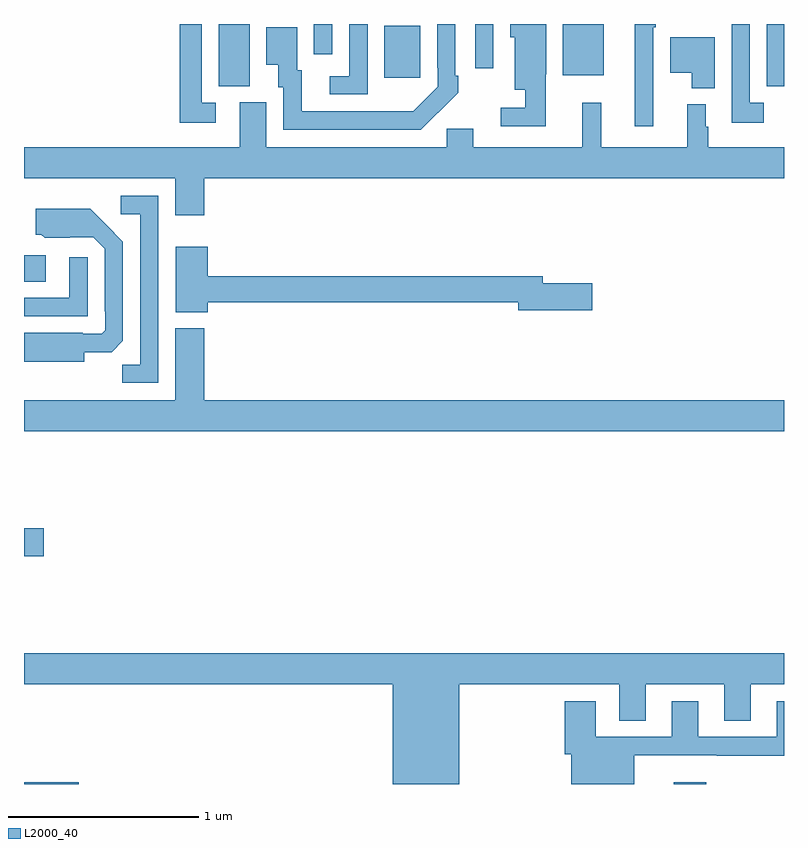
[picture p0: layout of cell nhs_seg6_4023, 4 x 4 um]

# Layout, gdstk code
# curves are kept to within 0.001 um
import gdstk
lib = gdstk.Library(unit=1e-6, precision=1e-09)
def R(c, l, rs):  # rectangles x0, y0, x1, y1
    for r in rs: c.add(gdstk.rectangle(r[:2], r[2:], *l))
def P(c, l, *ps):  # polygons
    for p in ps: c.add(gdstk.Polygon(p, *l))
L2000_40 = (2000, 40)

nhs_seg6_4023 = lib.new_cell('nhs_seg6_4023')
R(nhs_seg6_4023, L2000_40, [(349,925.5,349.288,925.508), (352.421,925.5,352.592,925.51), (349,926.699,349.105,926.846), (349,928.144,349.114,928.284), (350.024,929.173,350.188,929.5), (352.91,929.173,353,929.5), (350.897,929.217,351.085,929.491), (351.836,929.231,352.051,929.5), (351.375,929.268,351.471,929.5), (350.526,929.34,350.622,929.5)])
P(nhs_seg6_4023, L2000_40, [(350.008,929.085),(349.935,929.085),(349.935,929.5),(349.819,929.5),(349.819,928.98),(350.008,928.98)],
  [(352.311,929.483),(352.324,929.483),(352.324,929.5),(352.214,929.5),(352.214,928.962),(352.311,928.962)],
  [(350.808,929.5),(350.712,929.5),(350.712,929.226),(350.61,929.226),(350.61,929.13),(350.808,929.13)],
  [(351.179,929.035),(351.18,929.034),(351.285,929.139),(351.285,929.227),(351.27,929.227),(351.27,929.5),(351.174,929.5),(351.174,929.269),(351.177,929.269),(351.177,929.169),(351.049,929.041),(350.461,929.04),(350.461,929.256),(350.437,929.256),(350.437,929.482),(350.276,929.482),(350.276,929.285),(350.339,929.285),(350.339,929.166),(350.364,929.166),(350.364,928.944),(351.088,928.944)],
  [(352.894,929.085),(352.821,929.085),(352.821,929.5),(352.725,929.5),(352.725,928.98),(352.894,928.98)],
  [(351.747,929.235),(351.748,929.235),(351.748,929.5),(351.56,929.5),(351.56,929.43),(351.584,929.43),(351.584,929.153),(351.639,929.153),(351.639,929.058),(351.51,929.058),(351.51,928.962),(351.747,928.962)],
  [(352.636,929.431),(352.4,929.431),(352.4,929.243),(352.514,929.243),(352.514,929.162),(352.636,929.162)],
  [(349.949,928.688),(353,928.688),(353,928.852),(352.6,928.852),(352.6,928.959),(352.588,928.959),(352.588,929.077),(352.49,929.077),(352.49,928.852),(352.037,928.852),(352.037,929.086),(351.938,929.086),(351.938,928.852),(351.364,928.852),(351.364,928.95),(351.225,928.95),(351.225,928.852),(350.275,928.852),(350.275,929.088),(350.135,929.088),(350.135,928.852),(349,928.852),(349,928.688),(349.796,928.688),(349.796,928.494),(349.949,928.494)],
  [(349.707,928.596),(349.509,928.596),(349.509,928.5),(349.611,928.5),(349.611,927.707),(349.516,927.707),(349.516,927.612),(349.707,927.612)],
  [(349.318,927.773),(349.462,927.773),(349.521,927.832),(349.521,928.354),(349.349,928.528),(349.061,928.528),(349.061,928.392),(349.092,928.392),(349.108,928.376),(349.365,928.377),(349.425,928.317),(349.425,927.988),(349.428,927.988),(349.428,927.888),(349.41,927.87),(349.31,927.87),(349.31,927.874),(349,927.874),(349,927.722),(349.318,927.722)],
  [(349.966,928.036),(351.602,928.036),(351.602,927.994),(351.991,927.994),(351.991,928.136),(351.73,928.136),(351.73,928.172),(349.966,928.172),(349.966,928.327),(349.799,928.327),(349.799,927.983),(349.966,927.983)],
  [(349.335,928.273),(349.239,928.273),(349.239,928.059),(349,928.059),(349,927.963),(349.335,927.963)],
  [(349.796,927.898),(349.796,927.52),(349,927.52),(349,927.356),(353,927.356),(353,927.52),(349.949,927.52),(349.949,927.898)],
  [(351.292,926.024),(352.133,926.024),(352.133,925.834),(352.273,925.834),(352.273,926.024),(352.685,926.024),(352.685,925.834),(352.825,925.834),(352.825,926.024),(353,926.024),(353,926.188),(349,926.188),(349,926.024),(350.942,926.024),(350.942,925.5),(351.292,925.5)],
  [(352.213,925.652),(352.645,925.652),(352.645,925.648),(353,925.648),(353,925.936),(352.961,925.936),(352.961,925.749),(352.549,925.749),(352.549,925.936),(352.409,925.936),(352.409,925.749),(352.009,925.749),(352.009,925.936),(351.845,925.936),(351.845,925.656),(351.881,925.656),(351.881,925.5),(352.213,925.5)])

lib.write_gds('nhs_seg6_4023.gds')
